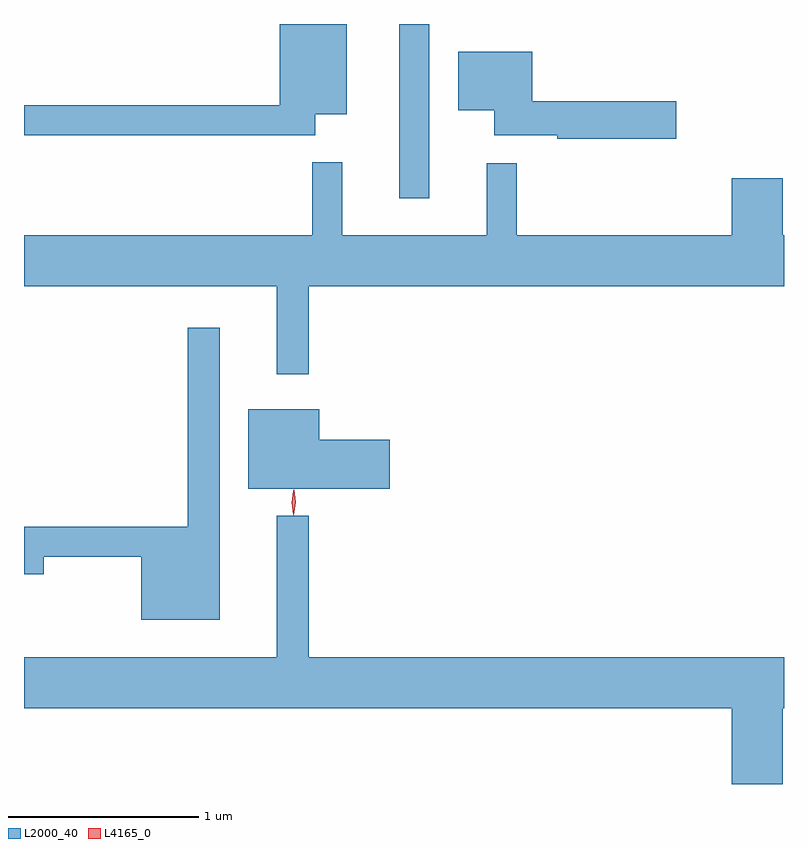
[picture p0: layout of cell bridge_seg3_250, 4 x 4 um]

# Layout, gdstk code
import gdstk
lib = gdstk.Library(unit=1e-6, precision=1e-09)
def R(c, l, rs):  # rectangles x0, y0, x1, y1
    for r in rs: c.add(gdstk.rectangle(r[:2], r[2:], *l))
def P(c, l, *ps):  # polygons
    for p in ps: c.add(gdstk.Polygon(p, *l))
L2000_40 = (2000, 40)
L4165_0 = (4165, 0)

bridge_seg3_250 = lib.new_cell('bridge_seg3_250')
R(bridge_seg3_250, L2000_40, [(972.566,1130.918,972.724,1131.836)])
P(bridge_seg3_250, L2000_40, [(972.124,1131.361),(972.289,1131.361),(972.289,1131.836),(971.936,1131.836),(971.936,1131.409),(970.59,1131.409),(970.59,1131.251),(972.124,1131.251)],
  [(974.024,1131.429),(973.264,1131.429),(973.264,1131.689),(972.876,1131.689),(972.876,1131.381),(973.066,1131.381),(973.066,1131.251),(973.396,1131.251),(973.396,1131.231),(974.024,1131.231)],
  [(972.089,1130.456),(974.59,1130.456),(974.59,1130.724),(974.584,1130.724),(974.584,1131.024),(974.316,1131.024),(974.316,1130.724),(973.184,1130.724),(973.184,1131.103),(973.026,1131.103),(973.026,1130.724),(972.264,1130.724),(972.264,1131.108),(972.106,1131.108),(972.106,1130.724),(970.59,1130.724),(970.59,1130.456),(971.921,1130.456),(971.921,1129.993),(972.089,1129.993)],
  [(971.619,1130.238),(971.451,1130.238),(971.451,1129.189),(970.59,1129.189),(970.59,1128.941),(970.694,1128.941),(970.694,1129.031),(971.206,1129.031),(971.206,1128.701),(971.619,1128.701)],
  [(972.514,1129.649),(972.144,1129.649),(972.144,1129.809),(971.771,1129.809),(971.771,1129.391),(972.514,1129.391)],
  [(974.584,1128.236),(974.59,1128.236),(974.59,1128.504),(972.089,1128.504),(972.089,1129.248),(971.921,1129.248),(971.921,1128.504),(970.59,1128.504),(970.59,1128.236),(974.316,1128.236),(974.316,1127.836),(974.584,1127.836)])
P(bridge_seg3_250, L4165_0, [(972.009,1129.25),(972.001,1129.318),(972.011,1129.386),(972.012,1129.386),(972.012,1129.386),(972.021,1129.318),(972.01,1129.25),(972.01,1129.25)],
  [(972.007,1129.253),(972.007,1129.254),(971.998,1129.316),(972.007,1129.379),(972.007,1129.38),(972.008,1129.379),(972.017,1129.316),(972.008,1129.254)])

lib.write_gds('bridge_seg3_250.gds')
